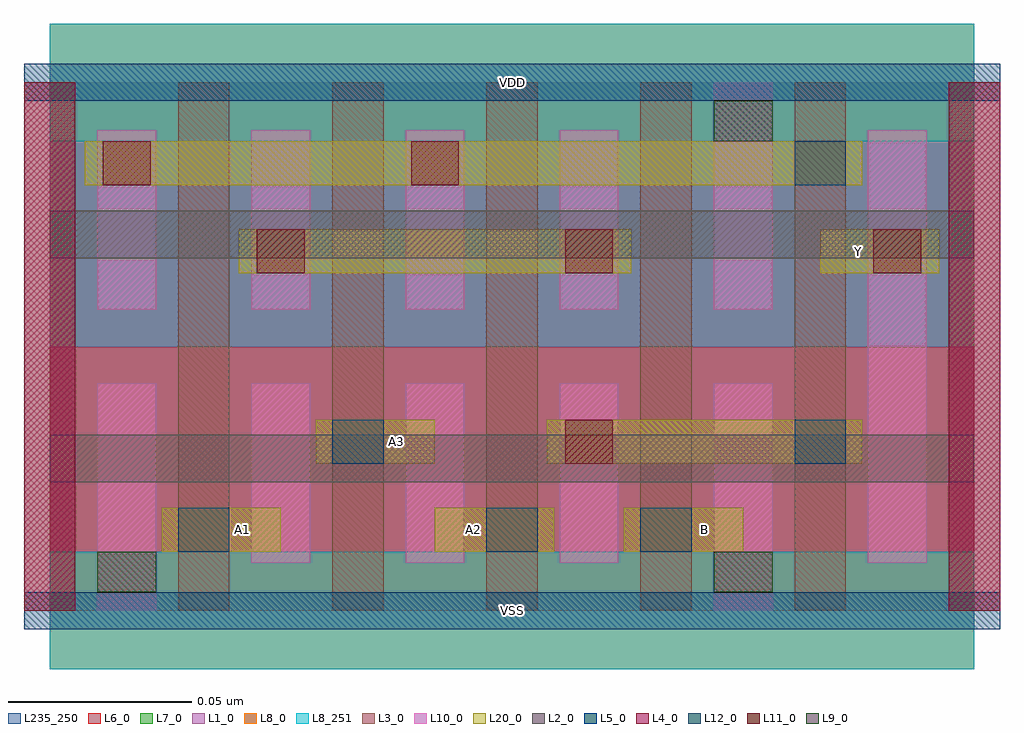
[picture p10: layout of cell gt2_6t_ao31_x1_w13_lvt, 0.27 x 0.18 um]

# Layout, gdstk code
import gdstk
lib = gdstk.Library(unit=1e-6, precision=5e-10)
def R(c, l, rs):  # rectangles x0, y0, x1, y1
    for r in rs: c.add(gdstk.rectangle(r[:2], r[2:], *l))
def A(c, l, x, y, w, h, nx, ny, dx, dy):  # array of equal rectangles
    R(c, l, [(x+i*dx, y+j*dy, x+i*dx+w, y+j*dy+h) for i in range(nx) for j in range(ny)])
L1_0 = (1, 0)
L2_0 = (2, 0)
L3_0 = (3, 0)
L4_0 = (4, 0)
L5_0 = (5, 0)
L6_0 = (6, 0)
L7_0 = (7, 0)
L8_0 = (8, 0)
L8_251 = (8, 251)
L9_0 = (9, 0)
L10_0 = (10, 0)
L11_0 = (11, 0)
L12_0 = (12, 0)
L20_0 = (20, 0)
L235_250 = (235, 250)

gt2_6t_ao31_x1_w13_lvt = lib.new_cell('gt2_6t_ao31_x1_w13_lvt')
R(gt2_6t_ao31_x1_w13_lvt, L1_0, [(0,0.072,0.252,0.144)])
R(gt2_6t_ao31_x1_w13_lvt, L2_0, [(0,0.035,0.252,0.048), (0,0.096,0.252,0.109)])
A(gt2_6t_ao31_x1_w13_lvt, L3_0, -0.007, 0, 0.014, 0.144, 7, 1, 0.042, 0)
R(gt2_6t_ao31_x1_w13_lvt, L4_0, [(-0.007,0,0.007,0.144), (0.245,0,0.259,0.144)])
R(gt2_6t_ao31_x1_w13_lvt, L5_0, [(-0.007,-0.005,0.259,0.005), (-0.007,0.139,0.259,0.149)])
R(gt2_6t_ao31_x1_w13_lvt, L6_0, [(0,0,0.252,0.072)])
R(gt2_6t_ao31_x1_w13_lvt, L7_0, [(0,0.072,0.252,0.144)])
R(gt2_6t_ao31_x1_w13_lvt, L8_0, [(0,-0.016,0.252,0.016), (0,0.128,0.252,0.16)])
R(gt2_6t_ao31_x1_w13_lvt, L8_251, [(0,-0.016,0.252,0.016), (0,0.128,0.252,0.16)])
R(gt2_6t_ao31_x1_w13_lvt, L9_0, [(0.013,0.005,0.029,0.016), (0.181,0.005,0.197,0.016), (0.181,0.128,0.197,0.139)])
A(gt2_6t_ao31_x1_w13_lvt, L10_0, 0.055, 0.013, 0.016, 0.049, 3, 1, 0.042, 0)
A(gt2_6t_ao31_x1_w13_lvt, L10_0, 0.013, 0.082, 0.016, 0.049, 4, 1, 0.042, 0)
R(gt2_6t_ao31_x1_w13_lvt, L10_0, [(0.013,0,0.029,0.062), (0.181,0,0.197,0.062), (0.223,0.013,0.239,0.131), (0.181,0.082,0.197,0.144)])
A(gt2_6t_ao31_x1_w13_lvt, L11_0, 0.0565, 0.092, 0.013, 0.012, 3, 1, 0.084, 0)
R(gt2_6t_ao31_x1_w13_lvt, L11_0, [(0.1405,0.04,0.1535,0.052), (0.0145,0.116,0.0275,0.128), (0.0985,0.116,0.1115,0.128)])
R(gt2_6t_ao31_x1_w13_lvt, L12_0, [(0.035,0.016,0.049,0.028), (0.119,0.016,0.133,0.028), (0.161,0.016,0.175,0.028), (0.077,0.04,0.091,0.052), (0.203,0.04,0.217,0.052), (0.203,0.116,0.217,0.128)])
R(gt2_6t_ao31_x1_w13_lvt, L20_0, [(0.0305,0.016,0.063,0.028), (0.105,0.016,0.1375,0.028), (0.1565,0.016,0.189,0.028), (0.0725,0.04,0.105,0.052), (0.1355,0.04,0.2215,0.052), (0.0515,0.092,0.1585,0.104), (0.21,0.092,0.2425,0.104), (0.0095,0.116,0.2215,0.128)])
R(gt2_6t_ao31_x1_w13_lvt, L235_250, [(0,0,0.252,0.144)])
gt2_6t_ao31_x1_w13_lvt.add(gdstk.Label('VSS', (0.126,0), layer=8, texttype=251))
gt2_6t_ao31_x1_w13_lvt.add(gdstk.Label('VDD', (0.126,0.144), layer=8, texttype=251))
gt2_6t_ao31_x1_w13_lvt.add(gdstk.Label('A3', (0.0945,0.046), layer=20, texttype=251))
gt2_6t_ao31_x1_w13_lvt.add(gdstk.Label('B', (0.1785,0.022), layer=20, texttype=251))
gt2_6t_ao31_x1_w13_lvt.add(gdstk.Label('A1', (0.0525,0.022), layer=20, texttype=251))
gt2_6t_ao31_x1_w13_lvt.add(gdstk.Label('Y', (0.2205,0.098), layer=20, texttype=251))
gt2_6t_ao31_x1_w13_lvt.add(gdstk.Label('A2', (0.1155,0.022), layer=20, texttype=251))

lib.write_gds('gt2_6t_ao31_x1_w13_lvt.gds')
